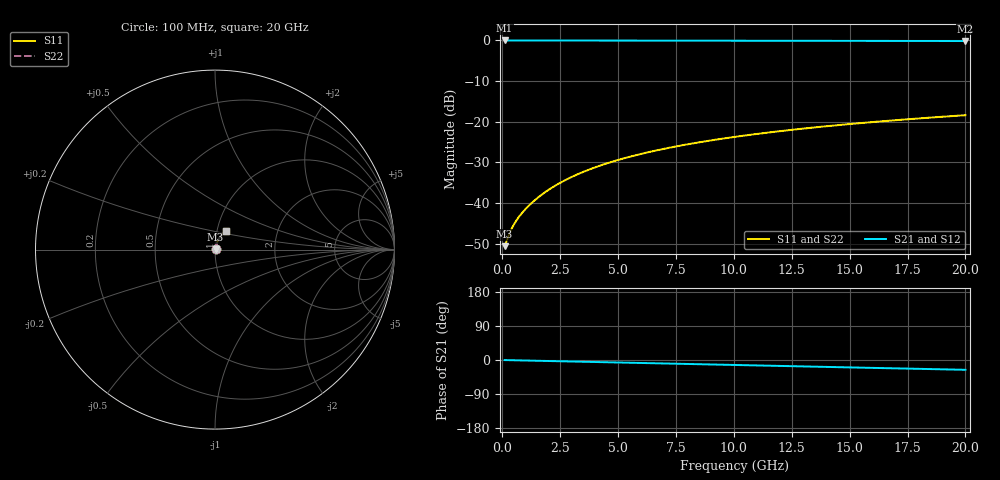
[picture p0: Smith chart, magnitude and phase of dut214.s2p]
! Touchstone file exported from HFSS 2026.1.0
!  File:  C:/ffzhzh/LocalFiles/Ansys_Project_Files/temp_train_BSMRDL_214_1782987957_40604.aedt
!  Generated:  06:27:06 PM Jul  2, 2026
!  Design:  BSMRDL
!  Project:  temp_train_BSMRDL_214_1782987957_40604
! Variables:
!  h_bsmrdl = 2.86um
!  h_ox = 20um
!  h_rdl = 5um
!  h_sub = 80um
!  h_tmrdl = 5um
!  h_tsv = 80um
!  h_via = 3um
!  l_bsmrdl = 431.66um
!  l_sub = 831.66um
!  l_tmrdl = 200um
!  m_sub = 200um
!  pitch = 28.89um
!  r_tsv = 6um
!  s_tmrdl = 10um
!  w_bsmrdl = 21.15um
!  w_sub = 500um
!  w_tmrdl = 12um
!  x_tsv_center1 = 206um
!  x_tsv_center2 = 658.81um
!  x_tsv_center3 = 870.81um
!  x_tsv_center4 = 1323.62um
!  x_tsv_center5 = 1535.62um
!  x_tsv_center6 = 1988.43um
# GHz S MA R 50.000000
! Terminal data exported
! Port[1] = BSM_RDL1_1_T1
! Port[2] = BSM_RDL1_1_T2
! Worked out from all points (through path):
!   200 points, 100 MHz to 20 GHz, reference 50 ohm
!   highest |S21| = -0.02 dB at 100 MHz (marker M1); lowest = -0.2 dB at 20 GHz (marker M2)
!   group delay of S21, straight-line fit = 3.59 ps
!   lowest |S11| = -50.6 dB at 100 MHz (marker M3), VSWR 1.01, Z = 50.3 + j0.097 ohm
!   |S11| at or under -10 dB: start of sweep to end of sweep
!   |S22| runs from -50.6 to -18.4 dB; largest |S21 - S12| = 5e-15
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0.1  0.00296 19.0  0.9972 -0.1  0.9972 -0.1  0.00296 19.0
! Gamma 0 0 0 0
! Port Impedance 50 0 50 0
0.3  0.004153 40.5  0.9969 -0.4  0.9969 -0.4  0.004153 40.5
0.4  0.004817 45.6  0.9967 -0.6  0.9967 -0.6  0.004817 45.6
0.5  0.005458 49.3  0.9965 -0.7  0.9965 -0.7  0.005458 49.3
0.6  0.006074 52.1  0.9963 -0.8  0.9963 -0.8  0.006075 52.1
0.8  0.007265 56.6  0.9961 -1.1  0.9961 -1.1  0.007265 56.6
1  0.008443 60.1  0.996 -1.4  0.996 -1.4  0.008443 60.1
1.2  0.009633 62.9  0.9958 -1.6  0.9958 -1.6  0.009633 62.9
1.7  0.01269 67.8  0.9956 -2.3  0.9956 -2.3  0.01269 67.8
2.2  0.01585 70.6  0.9954 -2.9  0.9954 -2.9  0.01585 70.6
2.8  0.0197 72.6  0.9952 -3.7  0.9952 -3.7  0.0197 72.6
3.5  0.02423 73.7  0.9948 -4.7  0.9948 -4.7  0.02423 73.7
4.2  0.02877 74.1  0.9945 -5.6  0.9945 -5.6  0.02877 74.1
5  0.03393 74.1  0.994 -6.6  0.994 -6.6  0.03393 74.1
5.9  0.03968 73.7  0.9934 -7.8  0.9934 -7.8  0.03968 73.7
6.8  0.04536 73.1  0.9927 -9.0  0.9927 -9.0  0.04537 73.1
8.3  0.05467 71.7  0.9915 -10.9  0.9915 -10.9  0.05467 71.7
10.1  0.06555 69.9  0.99 -13.3  0.99 -13.3  0.06555 69.9
11.7  0.07496 68.1  0.9886 -15.3  0.9886 -15.3  0.07497 68.1
13.4  0.08472 66.2  0.987 -17.5  0.987 -17.5  0.08473 66.2
16.7  0.103 62.4  0.984 -21.7  0.984 -21.7  0.103 62.4
20  0.1204 58.6  0.9809 -25.9  0.9809 -25.9  0.1204 58.6
